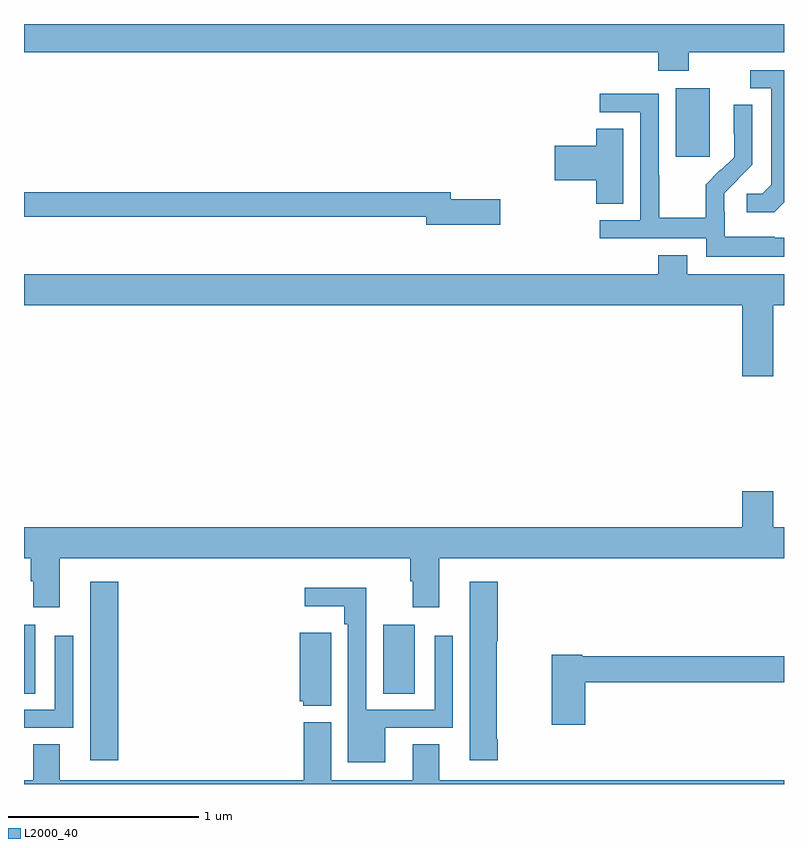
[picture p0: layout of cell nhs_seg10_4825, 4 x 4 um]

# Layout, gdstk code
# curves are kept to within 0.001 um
import gdstk
lib = gdstk.Library(unit=1e-6, precision=1e-09)
def R(c, l, rs):  # rectangles x0, y0, x1, y1
    for r in rs: c.add(gdstk.rectangle(r[:2], r[2:], *l))
def P(c, l, *ps):  # polygons
    for p in ps: c.add(gdstk.Polygon(p, *l))
L2000_40 = (2000, 40)

nhs_seg10_4825 = lib.new_cell('nhs_seg10_4825')
R(nhs_seg10_4825, L2000_40, [(389.348,1260.624,389.495,1261.564), (389,1260.976,389.059,1261.339), (390.89,1260.976,391.057,1261.339), (392.429,1263.801,392.608,1264.162)])
P(nhs_seg10_4825, L2000_40, [(392.499,1264.352),(393,1264.352),(393,1264.5),(389,1264.5),(389,1264.352),(392.339,1264.352),(392.339,1264.253),(392.499,1264.253)],
  [(393,1263.561),(393,1264.257),(392.823,1264.257),(392.823,1264.161),(392.933,1264.161),(392.933,1263.653),(392.886,1263.606),(392.805,1263.606),(392.805,1263.509),(392.948,1263.509)],
  [(393,1263.375),(392.951,1263.375),(392.951,1263.379),(392.688,1263.379),(392.688,1263.513),(392.686,1263.513),(392.686,1263.61),(392.832,1263.758),(392.832,1264.076),(392.736,1264.076),(392.736,1263.922),(392.738,1263.922),(392.738,1263.8),(392.667,1263.729),(392.664,1263.732),(392.587,1263.655),(392.587,1263.481),(392.343,1263.481),(392.343,1263.704),(392.34,1263.704),(392.34,1264.134),(392.031,1264.134),(392.031,1264.035),(392.244,1264.035),(392.244,1263.468),(392.031,1263.468),(392.031,1263.372),(392.592,1263.372),(392.592,1263.275),(393,1263.275)],
  [(392.155,1263.95),(392.012,1263.95),(392.012,1263.86),(391.794,1263.86),(391.794,1263.677),(392.012,1263.677),(392.012,1263.553),(392.155,1263.553)],
  [(391.507,1263.578),(391.246,1263.578),(391.246,1263.614),(389,1263.614),(389,1263.486),(391.118,1263.486),(391.118,1263.443),(391.507,1263.443)],
  [(392.944,1263.02),(393,1263.02),(393,1263.184),(392.491,1263.184),(392.491,1263.283),(392.339,1263.283),(392.339,1263.184),(389,1263.184),(389,1263.02),(392.78,1263.02),(392.78,1262.646),(392.944,1262.646)],
  [(389.188,1261.688),(391.034,1261.688),(391.034,1261.568),(391.046,1261.568),(391.046,1261.431),(391.186,1261.431),(391.186,1261.688),(393,1261.688),(393,1261.852),(392.944,1261.852),(392.944,1262.041),(392.78,1262.041),(392.78,1261.852),(389,1261.852),(389,1261.688),(389.036,1261.688),(389.036,1261.568),(389.048,1261.568),(389.048,1261.431),(389.188,1261.431)],
  [(391.493,1260.736),(391.488,1260.736),(391.488,1261.251),(391.493,1261.251),(391.493,1261.564),(391.346,1261.564),(391.346,1260.624),(391.493,1260.624)],
  [(390.901,1260.795),(391.257,1260.795),(391.257,1261.279),(391.161,1261.279),(391.161,1260.891),(390.801,1260.891),(390.801,1261.534),(390.477,1261.534),(390.477,1261.436),(390.685,1261.436),(390.685,1261.34),(390.705,1261.34),(390.705,1260.614),(390.901,1260.614)],
  [(390.616,1261.297),(390.452,1261.297),(390.452,1260.936),(390.471,1260.936),(390.471,1260.911),(390.616,1260.911)],
  [(389.259,1261.279),(389.163,1261.279),(389.163,1260.891),(389,1260.891),(389,1260.795),(389.259,1260.795)],
  [(391.955,1261.036),(393,1261.036),(393,1261.172),(391.938,1261.172),(391.938,1261.18),(391.777,1261.18),(391.777,1260.813),(391.955,1260.813)],
  [(393,1260.52),(391.186,1260.52),(391.186,1260.71),(391.046,1260.71),(391.046,1260.52),(390.616,1260.52),(390.616,1260.826),(390.473,1260.826),(390.473,1260.52),(389.188,1260.52),(389.188,1260.71),(389.048,1260.71),(389.048,1260.52),(389,1260.52),(389,1260.5),(393,1260.5)])

lib.write_gds('nhs_seg10_4825.gds')
